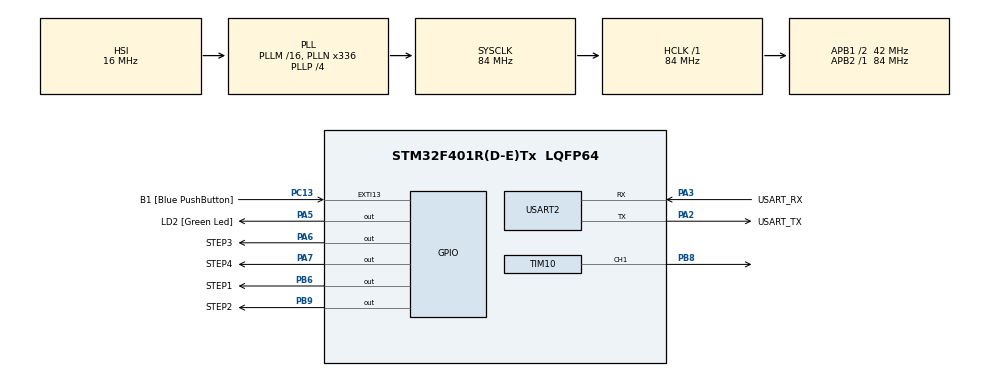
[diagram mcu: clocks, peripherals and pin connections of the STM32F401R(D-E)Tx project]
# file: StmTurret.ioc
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Mcu.Family=STM32F4
Mcu.Name=STM32F401R(D-E)Tx
Mcu.Package=LQFP64
NVIC.PriorityGroup=NVIC_PRIORITYGROUP_4
NVIC.USART2_IRQn=true\:0\:0\:false\:false\:true\:true\:true\:true
PA13.GPIO_Label=TMS
PA13.Mode=Trace_Asynchronous_SW
PA13.Signal=SYS_JTMS-SWDIO
PA14.GPIO_Label=TCK
PA14.Mode=Trace_Asynchronous_SW
PA14.Signal=SYS_JTCK-SWCLK
PA2.GPIO_Label=USART_TX
PA2.GPIO_Mode=GPIO_MODE_AF_PP
PA2.GPIO_PuPd=GPIO_NOPULL
PA2.GPIO_Speed=GPIO_SPEED_FREQ_LOW
PA2.Mode=Asynchronous
PA2.Signal=USART2_TX
PA3.GPIO_Label=USART_RX
PA3.GPIO_Mode=GPIO_MODE_AF_PP
PA3.GPIO_PuPd=GPIO_NOPULL
PA3.GPIO_Speed=GPIO_SPEED_FREQ_LOW
PA3.Mode=Asynchronous
PA3.Signal=USART2_RX
PA5.GPIO_Label=LD2 [Green Led]
PA5.GPIO_Mode=GPIO_MODE_OUTPUT_PP
PA5.GPIO_PuPd=GPIO_NOPULL
PA5.GPIO_Speed=GPIO_SPEED_FREQ_LOW
PA5.Signal=GPIO_Output
PA6.GPIO_Label=STEP3
PA6.Signal=GPIO_Output
PA7.GPIO_Label=STEP4
PA7.Signal=GPIO_Output
PB3.GPIO_Label=SWO
PB3.Mode=Trace_Asynchronous_SW
PB3.Signal=SYS_JTDO-SWO
PB6.GPIO_Label=STEP1
PB6.Signal=GPIO_Output
PB8.Signal=S_TIM10_CH1
PB9.GPIO_Label=STEP2
PB9.Signal=GPIO_Output
PC13-ANTI_TAMP.GPIO_Label=B1 [Blue PushButton]
PC13-ANTI_TAMP.GPIO_ModeDefaultEXTI=GPIO_MODE_IT_FALLING
PC13-ANTI_TAMP.GPIO_PuPd=GPIO_NOPULL
PC13-ANTI_TAMP.Signal=GPXTI13
PC14-OSC32_IN.Mode=LSE-External-Oscillator
PC14-OSC32_IN.Signal=RCC_OSC32_IN
PC15-OSC32_OUT.Mode=LSE-External-Oscillator
PC15-OSC32_OUT.Signal=RCC_OSC32_OUT
PH0\ -\ OSC_IN.Mode=HSE-External-Clock-Source
PH0\ -\ OSC_IN.Signal=RCC_OSC_IN
PH1\ -\ OSC_OUT.Mode=HSE-External-Clock-Source
PH1\ -\ OSC_OUT.Signal=RCC_OSC_OUT
ProjectManager.HeapSize=0x200
ProjectManager.StackSize=0x400
ProjectManager.TargetToolchain=STM32CubeIDE
RCC.48MHZClocksFreq_Value=48000000
RCC.AHBFreq_Value=84000000
RCC.APB1CLKDivider=RCC_HCLK_DIV2
RCC.APB1Freq_Value=42000000
RCC.APB1TimFreq_Value=84000000
RCC.APB2Freq_Value=84000000
RCC.APB2TimFreq_Value=84000000
RCC.CortexFreq_Value=84000000
RCC.HCLKFreq_Value=84000000
RCC.HSE_VALUE=8000000
RCC.HSI_VALUE=16000000
RCC.PLLN=336
RCC.PLLP=RCC_PLLP_DIV4
RCC.PLLQ=7
RCC.SYSCLKFreq_VALUE=84000000
RCC.SYSCLKSource=RCC_SYSCLKSOURCE_PLLCLK
RCC.VCOOutputFreq_Value=336000000
SH.S_TIM10_CH1.0=TIM10_CH1,PWM Generation1 CH1
TIM10.Channel=TIM_CHANNEL_1
TIM10.Period=64615
TIM10.Prescaler=25
TIM10.Pulse=4846
USART2.VirtualMode=VM_ASYNC
VP_TIM10_VS_ClockSourceINT.Mode=Enable_Timer
board=NUCLEO-F401RE

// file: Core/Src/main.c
/* USER CODE BEGIN Header */
/**
  ******************************************************************************
  * @file           : main.c
  * @brief          : Main program body
  ******************************************************************************
  * @attention
  *
  * Copyright (c) 2026 STMicroelectronics.
  * All rights reserved.
  *
  * This software is licensed under terms that can be found in the LICENSE file
  * in the root directory of this software component.
  * If no LICENSE file comes with this software, it is provided AS-IS.
  *
  ******************************************************************************
  */
/* USER CODE END Header */
#include "main.h"

/* USER CODE BEGIN Includes */
#include <stdio.h>
#include <string.h>

/* USER CODE END Includes */

/* USER CODE BEGIN PTD */
uint8_t UARTDATA[2];
uint8_t DIRECTIONX = 2;
uint8_t DIRECTIONY = 2;
uint8_t CURRENTSTEP = 1;
/* USER CODE END PTD */

TIM_HandleTypeDef htim10;

UART_HandleTypeDef huart2;

void SystemClock_Config(void);
static void MX_GPIO_Init(void);
static void MX_USART2_UART_Init(void);
static void MX_TIM10_Init(void);

/* USER CODE BEGIN 0 */
void uart_print_test()
{
	char str[200]; //Char with enough size to hold message

	sprintf(str, "DIRECTION is: %d \n\r", DIRECTIONX);

	HAL_UART_Transmit(&huart2, (uint8_t *)str, strlen(str), HAL_MAX_DELAY);
}

void uart_print_returned(uint8_t recived)
{
  	  char str[200]; //Char with enough size to hold message

  	  sprintf(str, "You sent: %1c\n\r", recived);

  	  HAL_UART_Transmit(&huart2, (uint8_t *)str, strlen(str), HAL_MAX_DELAY);
}

int uart_recived()
{
	  char str[1] = { "\0" }; //will only recive one byte
	  HAL_UART_Receive(&huart2,(uint8_t *) str, 1, HAL_MAX_DELAY);
	  int ret = -1;
	  sscanf(str, "%d", &ret);
	  return ret;
}

uint8_t set_step(uint8_t direction, uint8_t current_step)
{
	const int steps[8][4] = {
	        {1, 0, 0, 0},
	        {1, 1, 0, 0},
	        {0, 1, 0, 0},
	        {0, 1, 1, 0},
	        {0, 0, 1, 0},
	        {0, 0, 1, 1},
	        {0, 0, 0, 1},
	        {1, 0, 0, 1}
	    };

	if (direction == 1)
	{
		if(current_step == 0)
			current_step = 7;
		else
			current_step -= 1;
	}
	else if (direction == 2)
		return current_step;
	else if (direction == 3)
	{
		if(current_step == 7)
			current_step = 0;
		else
			current_step += 1;
	}

	HAL_GPIO_WritePin(STEP1_GPIO_Port, STEP1_Pin, steps[current_step][0]);
	HAL_GPIO_WritePin(STEP2_GPIO_Port, STEP2_Pin, steps[current_step][1]);
	HAL_GPIO_WritePin(STEP3_GPIO_Port, STEP3_Pin, steps[current_step][2]);
	HAL_GPIO_WritePin(STEP4_GPIO_Port, STEP4_Pin, steps[current_step][3]);
	return current_step;

}

uint16_t set_pulse_width( uint8_t direction, uint16_t current_pulse)
{

	uint16_t min_pulse = 1615;
	uint16_t max_pulse = 8077;
	const uint16_t step_size = 2;

	if (direction == 4) // Decrement pulse (turn one way)
	{
	    if (current_pulse >= (min_pulse + step_size))
	    {
	        current_pulse -= step_size;
	    }
	    else
	    {
	        current_pulse = min_pulse; // Clamp to lower limit
	    }
	}
	else if (direction == 6) // Increment pulse (turn other way)
	{
	    if (current_pulse <= (max_pulse - step_size))
	    {
	        current_pulse += step_size;
	    }
	    else
	    {
	        current_pulse = max_pulse; // Clamp to upper limit
	    }
	}

	// Update timer compare register
	__HAL_TIM_SET_COMPARE(&htim10, TIM_CHANNEL_1, current_pulse);

	return current_pulse;
}

/* USER CODE END 0 */

int main(void)
{

  /* MCU Configuration--------------------------------------------------------*/

  /* Reset of all peripherals, Initializes the Flash interface and the Systick. */
  HAL_Init();

  /* Configure the system clock */
  SystemClock_Config();

  /* Initialize all configured peripherals */
  MX_GPIO_Init();
  MX_USART2_UART_Init();
  MX_TIM10_Init();
  /* USER CODE BEGIN 2 */
  HAL_TIM_PWM_Start(&htim10, TIM_CHANNEL_1); //startup for tim10
  HAL_UART_Receive_IT(&huart2, UARTDATA, 1); //startup for interrupt based uart
  /* USER CODE END 2 */

  /* Infinite loop */
  /* USER CODE BEGIN WHILE */
  uint16_t current_pulse = 4846;
  while (1)
  {
    /* USER CODE END WHILE */

    /* USER CODE BEGIN 3 */
	 //HAL_GPIO_TogglePin(LD2_GPIO_Port, LD2_Pin);
	  //uart_print_test();
	  //int recived = uart_recived();
	  //uart_print_returned(recived);
	  CURRENTSTEP = set_step(DIRECTIONX, CURRENTSTEP);
	  current_pulse = set_pulse_width(DIRECTIONY, current_pulse);
	  HAL_Delay(100);

  }
  /* USER CODE END 3 */
}

void SystemClock_Config(void)
{
  RCC_OscInitTypeDef RCC_OscInitStruct = {0};
  RCC_ClkInitTypeDef RCC_ClkInitStruct = {0};

  /** Configure the main internal regulator output voltage
  */
  __HAL_RCC_PWR_CLK_ENABLE();
  __HAL_PWR_VOLTAGESCALING_CONFIG(PWR_REGULATOR_VOLTAGE_SCALE2);

  /** Initializes the RCC Oscillators according to the specified parameters
  * in the RCC_OscInitTypeDef structure.
  */
  RCC_OscInitStruct.OscillatorType = RCC_OSCILLATORTYPE_HSI;
  RCC_OscInitStruct.HSIState = RCC_HSI_ON;
  RCC_OscInitStruct.HSICalibrationValue = RCC_HSICALIBRATION_DEFAULT;
  RCC_OscInitStruct.PLL.PLLState = RCC_PLL_ON;
  RCC_OscInitStruct.PLL.PLLSource = RCC_PLLSOURCE_HSI;
  RCC_OscInitStruct.PLL.PLLM = 16;
  RCC_OscInitStruct.PLL.PLLN = 336;
  RCC_OscInitStruct.PLL.PLLP = RCC_PLLP_DIV4;
  RCC_OscInitStruct.PLL.PLLQ = 7;
  if (HAL_RCC_OscConfig(&RCC_OscInitStruct) != HAL_OK)
  {
    Error_Handler();
  }

  /** Initializes the CPU, AHB and APB buses clocks
  */
  RCC_ClkInitStruct.ClockType = RCC_CLOCKTYPE_HCLK|RCC_CLOCKTYPE_SYSCLK
                              |RCC_CLOCKTYPE_PCLK1|RCC_CLOCKTYPE_PCLK2;
  RCC_ClkInitStruct.SYSCLKSource = RCC_SYSCLKSOURCE_PLLCLK;
  RCC_ClkInitStruct.AHBCLKDivider = RCC_SYSCLK_DIV1;
  RCC_ClkInitStruct.APB1CLKDivider = RCC_HCLK_DIV2;
  RCC_ClkInitStruct.APB2CLKDivider = RCC_HCLK_DIV1;

  if (HAL_RCC_ClockConfig(&RCC_ClkInitStruct, FLASH_LATENCY_2) != HAL_OK)
  {
    Error_Handler();
  }
}

static void MX_TIM10_Init(void)
{

  TIM_OC_InitTypeDef sConfigOC = {0};

  htim10.Instance = TIM10;
  htim10.Init.Prescaler = 25;
  htim10.Init.CounterMode = TIM_COUNTERMODE_UP;
  htim10.Init.Period = 64615;
  htim10.Init.ClockDivision = TIM_CLOCKDIVISION_DIV1;
  htim10.Init.AutoReloadPreload = TIM_AUTORELOAD_PRELOAD_DISABLE;
  if (HAL_TIM_Base_Init(&htim10) != HAL_OK)
  {
    Error_Handler();
  }
  if (HAL_TIM_PWM_Init(&htim10) != HAL_OK)
  {
    Error_Handler();
  }
  sConfigOC.OCMode = TIM_OCMODE_PWM1;
  sConfigOC.Pulse = 4846;
  sConfigOC.OCPolarity = TIM_OCPOLARITY_HIGH;
  sConfigOC.OCFastMode = TIM_OCFAST_DISABLE;
  if (HAL_TIM_PWM_ConfigChannel(&htim10, &sConfigOC, TIM_CHANNEL_1) != HAL_OK)
  {
    Error_Handler();
  }
  HAL_TIM_MspPostInit(&htim10);

}

static void MX_USART2_UART_Init(void)
{

  huart2.Instance = USART2;
  huart2.Init.BaudRate = 115200;
  huart2.Init.WordLength = UART_WORDLENGTH_8B;
  huart2.Init.StopBits = UART_STOPBITS_1;
  huart2.Init.Parity = UART_PARITY_NONE;
  huart2.Init.Mode = UART_MODE_TX_RX;
  huart2.Init.HwFlowCtl = UART_HWCONTROL_NONE;
  huart2.Init.OverSampling = UART_OVERSAMPLING_16;
  if (HAL_UART_Init(&huart2) != HAL_OK)
  {
    Error_Handler();
  }

}

static void MX_GPIO_Init(void)
{
  GPIO_InitTypeDef GPIO_InitStruct = {0};

  /* GPIO Ports Clock Enable */
  __HAL_RCC_GPIOC_CLK_ENABLE();
  __HAL_RCC_GPIOH_CLK_ENABLE();
  __HAL_RCC_GPIOA_CLK_ENABLE();
  __HAL_RCC_GPIOB_CLK_ENABLE();

  /*Configure GPIO pin Output Level */
  HAL_GPIO_WritePin(GPIOA, LD2_Pin|STEP3_Pin|STEP4_Pin, GPIO_PIN_RESET);

  /*Configure GPIO pin Output Level */
  HAL_GPIO_WritePin(GPIOB, STEP1_Pin|STEP2_Pin, GPIO_PIN_RESET);

  /*Configure GPIO pin : B1_Pin */
  GPIO_InitStruct.Pin = B1_Pin;
  GPIO_InitStruct.Mode = GPIO_MODE_IT_FALLING;
  GPIO_InitStruct.Pull = GPIO_NOPULL;
  HAL_GPIO_Init(B1_GPIO_Port, &GPIO_InitStruct);

  /*Configure GPIO pins : LD2_Pin STEP3_Pin STEP4_Pin */
  GPIO_InitStruct.Pin = LD2_Pin|STEP3_Pin|STEP4_Pin;
  GPIO_InitStruct.Mode = GPIO_MODE_OUTPUT_PP;
  GPIO_InitStruct.Pull = GPIO_NOPULL;
  GPIO_InitStruct.Speed = GPIO_SPEED_FREQ_LOW;
  HAL_GPIO_Init(GPIOA, &GPIO_InitStruct);

  /*Configure GPIO pins : STEP1_Pin STEP2_Pin */
  GPIO_InitStruct.Pin = STEP1_Pin|STEP2_Pin;
  GPIO_InitStruct.Mode = GPIO_MODE_OUTPUT_PP;
  GPIO_InitStruct.Pull = GPIO_NOPULL;
  GPIO_InitStruct.Speed = GPIO_SPEED_FREQ_LOW;
  HAL_GPIO_Init(GPIOB, &GPIO_InitStruct);

}

/* USER CODE BEGIN 4 */
void HAL_UART_RxCpltCallback(UART_HandleTypeDef *huart)
{
	// do something with the data

	if(UARTDATA[0] > '0' && UARTDATA[0] <= '3')
	{
		DIRECTIONX = UARTDATA[0] - '0';
	}
	else if (UARTDATA[0] >= '4' && UARTDATA[0] <= '6')
	{
		DIRECTIONY = UARTDATA[0] - '0';
	}
	HAL_UART_Receive_IT(&huart2, UARTDATA, 1);
}
/* USER CODE END 4 */

void Error_Handler(void)
{
  __disable_irq();
  while (1)
  {
  }
}
